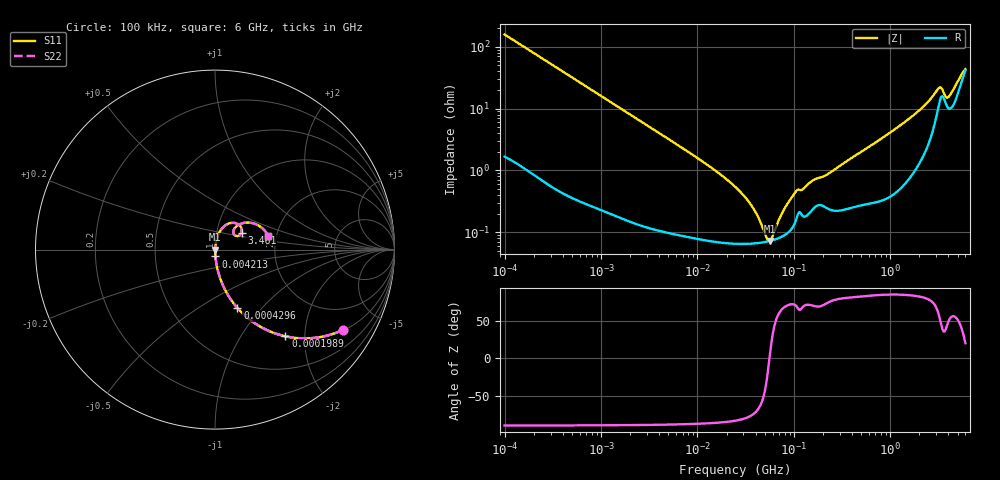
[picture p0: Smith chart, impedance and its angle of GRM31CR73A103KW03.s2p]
!Murata Part Number: GRM31CR73A103KW03
!These Parameters are Measured in Series Mode Connection
!Data Generated on Mar 30, 2021
!  o--ll--o
!Port1  Port2
!  o------o
!Operation Temp=25[degC], DC Bias Voltage=0[V]
!Freq. Start=100[kHz] Stop=6[GHz] 401[Steps]
# Hz S RI R 50
!Freq.(Hz) S11(Real) S11(Imag) S21(Real) S21(Imag) S12(Real) S12(Imag) S22(Real) S22(Imag)
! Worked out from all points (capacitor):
!   401 points, 100 kHz to 6 GHz, reference 50 ohm
!   read as one part in series: C = 10 nF near 105.7 kHz
!   lowest |Z| = 72.2 mohm at 55.9 MHz (marker M1)
!   series resonance near 55.81 MHz, so ESL is about 810 pH
!   S11 on the Smith chart (normalised r, x): 100 kHz: 1.03, -3.17; 198.9 kHz: 1.02, -1.60; 429.6 kHz: 1.01, -0.74; 4.213 MHz: 1.00, -0.08; 3.461 GHz: 1.32, +0.26; 6 GHz: 1.82, +0.30
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100000  0.713 -0.4471  0.287 0.4471  0.287 0.4471  0.713 -0.4471
198900  0.3919 -0.4829  0.6081 0.4829  0.6081 0.4829  0.3919 -0.4829
429640  0.1244 -0.3247  0.8756 0.3247  0.8756 0.3247  0.1244 -0.3247
631452  0.063 -0.2371  0.937 0.2371  0.937 0.2371  0.063 -0.2371
1441125  0.0141 -0.11  0.9859 0.11  0.9859 0.11  0.0141 -0.11
3987316  0.00269 -0.0404  0.9973 0.0404  0.9973 0.0404  0.00269 -0.0404
4212806  0.0025 -0.0382  0.9975 0.0382  0.9975 0.0382  0.0025 -0.0382
2.517799e7  0.000678 -0.00522  0.9993 0.00522  0.9993 0.00522  0.000678 -0.00522
3.700465e7  0.000663 -0.00251  0.9993 0.00251  0.9993 0.00251  0.000663 -0.00251
5.147553e7  0.000702 -0.000483  0.9993 0.000483  0.9993 0.000483  0.000702 -0.000483
5.590324e7  0.000722 1e-05  0.9993 -1e-05  0.9993 -1e-05  0.000722 1e-05
7.776452e7  0.00088 0.00206  0.9991 -0.00206  0.9991 -0.00206  0.00088 0.00206
9.960701e7  0.0013 0.00387  0.9987 -0.00387  0.9987 -0.00387  0.0013 0.00387
1.546735e8  0.00233 0.00636  0.9977 -0.00636  0.9977 -0.00636  0.00233 0.00636
2.273271e8  0.00246 0.00848  0.9975 -0.00848  0.9975 -0.00848  0.00246 0.00848
9.76689e8  0.00527 0.0397  0.9947 -0.0397  0.9947 -0.0397  0.00527 0.0397
2.229039e9  0.0287 0.1037  0.9713 -0.1037  0.9713 -0.1037  0.0287 0.1037
3.100717e9  0.1113 0.1484  0.8887 -0.1484  0.8887 -0.1484  0.1113 0.1484
3.461335e9  0.1481 0.0947  0.8519 -0.0947  0.8519 -0.0947  0.1481 0.0947
3.971646e9  0.1022 0.0921  0.8978 -0.0921  0.8978 -0.0921  0.1022 0.0921
5.087202e9  0.1861 0.1507  0.8139 -0.1507  0.8139 -0.1507  0.1861 0.1507
6e9  0.298 0.0743  0.702 -0.0743  0.702 -0.0743  0.298 0.0743
